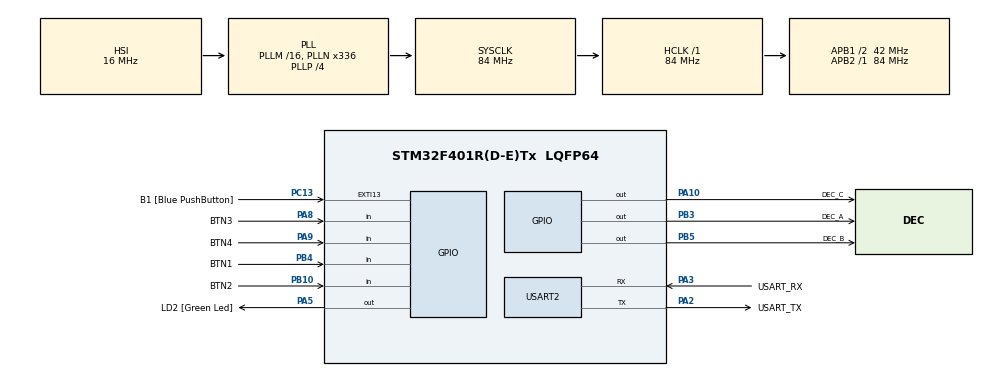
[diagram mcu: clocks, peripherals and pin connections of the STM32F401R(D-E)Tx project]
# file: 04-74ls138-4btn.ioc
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Mcu.Family=STM32F4
Mcu.Name=STM32F401R(D-E)Tx
Mcu.Package=LQFP64
NVIC.PriorityGroup=NVIC_PRIORITYGROUP_4
PA10.GPIO_Label=DEC_C
PA10.Signal=GPIO_Output
PA13.GPIO_Label=TMS
PA13.Signal=SYS_JTMS-SWDIO
PA14.GPIO_Label=TCK
PA14.Signal=SYS_JTCK-SWCLK
PA2.GPIO_Label=USART_TX
PA2.GPIO_Mode=GPIO_MODE_AF_PP
PA2.GPIO_PuPd=GPIO_NOPULL
PA2.GPIO_Speed=GPIO_SPEED_FREQ_LOW
PA2.Mode=Asynchronous
PA2.Signal=USART2_TX
PA3.GPIO_Label=USART_RX
PA3.GPIO_Mode=GPIO_MODE_AF_PP
PA3.GPIO_PuPd=GPIO_NOPULL
PA3.GPIO_Speed=GPIO_SPEED_FREQ_LOW
PA3.Mode=Asynchronous
PA3.Signal=USART2_RX
PA5.GPIO_Label=LD2 [Green Led]
PA5.GPIO_Mode=GPIO_MODE_OUTPUT_PP
PA5.GPIO_PuPd=GPIO_NOPULL
PA5.GPIO_Speed=GPIO_SPEED_FREQ_LOW
PA5.Signal=GPIO_Output
PA8.GPIO_Label=BTN3
PA8.GPIO_PuPd=GPIO_PULLUP
PA8.Signal=GPIO_Input
PA9.GPIO_Label=BTN4
PA9.GPIO_PuPd=GPIO_PULLUP
PA9.Signal=GPIO_Input
PB10.GPIO_Label=BTN2
PB10.GPIO_PuPd=GPIO_PULLUP
PB10.Signal=GPIO_Input
PB3.GPIO_Label=DEC_A
PB3.Signal=GPIO_Output
PB4.GPIO_Label=BTN1
PB4.GPIO_PuPd=GPIO_PULLUP
PB4.Signal=GPIO_Input
PB5.GPIO_Label=DEC_B
PB5.Signal=GPIO_Output
PC13-ANTI_TAMP.GPIO_Label=B1 [Blue PushButton]
PC13-ANTI_TAMP.GPIO_ModeDefaultEXTI=GPIO_MODE_IT_FALLING
PC13-ANTI_TAMP.GPIO_PuPd=GPIO_NOPULL
PC13-ANTI_TAMP.Signal=GPXTI13
PC14-OSC32_IN.Mode=LSE-External-Oscillator
PC14-OSC32_IN.Signal=RCC_OSC32_IN
PC15-OSC32_OUT.Mode=LSE-External-Oscillator
PC15-OSC32_OUT.Signal=RCC_OSC32_OUT
PH0\ -\ OSC_IN.Mode=HSE-External-Clock-Source
PH0\ -\ OSC_IN.Signal=RCC_OSC_IN
PH1\ -\ OSC_OUT.Mode=HSE-External-Clock-Source
PH1\ -\ OSC_OUT.Signal=RCC_OSC_OUT
ProjectManager.HeapSize=0x200
ProjectManager.StackSize=0x400
ProjectManager.TargetToolchain=CMake
RCC.48MHZClocksFreq_Value=48000000
RCC.AHBFreq_Value=84000000
RCC.APB1CLKDivider=RCC_HCLK_DIV2
RCC.APB1Freq_Value=42000000
RCC.APB1TimFreq_Value=84000000
RCC.APB2Freq_Value=84000000
RCC.APB2TimFreq_Value=84000000
RCC.CortexFreq_Value=84000000
RCC.HCLKFreq_Value=84000000
RCC.HSE_VALUE=8000000
RCC.HSI_VALUE=16000000
RCC.PLLN=336
RCC.PLLP=RCC_PLLP_DIV4
RCC.PLLQ=7
RCC.SYSCLKFreq_VALUE=84000000
RCC.SYSCLKSource=RCC_SYSCLKSOURCE_PLLCLK
RCC.VCOOutputFreq_Value=336000000
USART2.VirtualMode=VM_ASYNC
board=NUCLEO-F401RE

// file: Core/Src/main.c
/* USER CODE BEGIN Header */
/**
  ******************************************************************************
  * @file           : main.c
  * @brief          : Main program body
  ******************************************************************************
  * @attention
  *
  * Copyright (c) 2026 STMicroelectronics.
  * All rights reserved.
  *
  * This software is licensed under terms that can be found in the LICENSE file
  * in the root directory of this software component.
  * If no LICENSE file comes with this software, it is provided AS-IS.
  *
  ******************************************************************************
  */
/* USER CODE END Header */
#include "main.h"
#include "usart.h"
#include "gpio.h"

/* USER CODE BEGIN Includes */
#include <string.h>   /* UART 문자열 길이 계산(strlen)에 사용 */
#include <stdio.h>    /* 상태 메시지 조립(vsnprintf)에 사용 */
#include <stdarg.h>   /* UartPrintf의 가변 인자 처리에 사용 */
/* USER CODE END Includes */

/* USER CODE BEGIN PTD */
/* 버튼 1개의 디바운스 상태를 담는 구조체.
   port/pin  : 이 버튼이 연결된 GPIO (예: BTN1_GPIO_Port, BTN1_Pin)
   lastReading    : 방금 전 루프에서 읽은 raw 핀 값 (튀는 값 포함, 아직 확정 아님)
   stableState    : 디바운스를 통과해 "확정"된 값 (실제로 눌렸는지/안 눌렸는지)
   lastChangeTick : lastReading이 마지막으로 바뀐 시각(ms) - 여기서부터 시간을 재서
                    BUTTON_DEBOUNCE_MS 이상 값이 안 변하면 진짜 상태로 인정 */
typedef struct
{
  GPIO_TypeDef *port;
  uint16_t pin;
  GPIO_PinState lastReading;
  GPIO_PinState stableState;
  uint32_t lastChangeTick;
} Button_t;
/* USER CODE END PTD */

/* USER CODE BEGIN PD */
/* 여러 기능에 걸쳐 쓰이는 설정값만 여기 두고, 특정 함수 하나에서만 쓰는
   매직넘버(BTN2/3/4의 속도 등)는 해당 함수 바로 위에 둔다. */

/* 1이면 부팅 직후 LED 배선 매핑 테스트(LedMappingTest)를 자동으로 한 번 실행한다.
   버튼을 누르지 않아도 되므로 어떤 버튼 배선도 필요 없이 확인할 수 있다.
   배선 매핑 확인이 끝났으므로 0으로 꺼둠 - 다시 배선을 만지게 되면 1로 바꾸면 됨. */
#define RUN_MAPPING_TEST_AT_BOOT 0
/* USER CODE END PD */

/* USER CODE BEGIN PV */
/* 버튼 4개 각각의 상태. 초기값 GPIO_PIN_SET(HIGH)은 "안 눌림" 가정이고,
   실제 초기값은 main() 시작 시 Button_Init()이 실제 핀을 읽어서 다시 세팅한다. */
static Button_t btn1 = { BTN1_GPIO_Port, BTN1_Pin, GPIO_PIN_SET, GPIO_PIN_SET, 0 };
static Button_t btn2 = { BTN2_GPIO_Port, BTN2_Pin, GPIO_PIN_SET, GPIO_PIN_SET, 0 };
static Button_t btn3 = { BTN3_GPIO_Port, BTN3_Pin, GPIO_PIN_SET, GPIO_PIN_SET, 0 };
static Button_t btn4 = { BTN4_GPIO_Port, BTN4_Pin, GPIO_PIN_SET, GPIO_PIN_SET, 0 };
/* USER CODE END PV */

void SystemClock_Config(void);
/* USER CODE BEGIN PFP */
static void Button_Init(Button_t *btn);
static uint8_t Button_Update(Button_t *btn);
static void SetDecoderOutput(uint8_t index);
static void UartPrint(const char *msg);
static void UartPrintf(const char *fmt, ...);
static void UartPrintStep(const char *label, uint8_t step, uint8_t position);
static void PlaySequence(const char *label, const uint8_t *order, uint16_t stepMs);
#if RUN_MAPPING_TEST_AT_BOOT
static void LedMappingTest(void);
#endif

static void BTN1_Action(void);
static void BTN2_Action(void);
static void BTN3_Action(void);
static void BTN4_Action(void);
/* USER CODE END PFP */

int main(void)
{

  /* MCU Configuration--------------------------------------------------------*/

  /* Reset of all peripherals, Initializes the Flash interface and the Systick. */
  HAL_Init();

  /* Configure the system clock */
  SystemClock_Config();

  /* Initialize all configured peripherals */
  MX_GPIO_Init();
  MX_USART2_UART_Init();
  /* USER CODE BEGIN 2 */
  /* 리셋 직후 전원/풀업이 안정되기 전 핀이 잠깐 튈 수 있으므로,
     "안 눌림"으로 무작정 가정하지 않고 지금 실제 핀 값을 읽어서
     그걸 기준(baseline) 상태로 저장한다. 이렇게 하면 리셋 직후의
     순간적인 노이즈를 "버튼이 눌렸다"고 오인하지 않는다. */
  Button_Init(&btn1);
  Button_Init(&btn2);
  Button_Init(&btn3);
  Button_Init(&btn4);

  SetDecoderOutput(0);  /* 시작 시 LED 1번째(index 0)를 켠 상태로 초기화 */

  /* 부팅 배너: UART가 살아있는지 바로 확인하기 위한 신호.
     리셋하자마자 이 줄이 시리얼 모니터에 뜨면 UART/포트/보드레이트는 정상이라는 뜻.
     이어서 각 버튼이 어떤 동작인지 안내해두면 모니터만 보고도 구분할 수 있다. */
  UartPrint("\r\n=== 04-74ls138-4btn ready (115200 8N1) ===\r\n");
  UartPrint("  BTN1: 1초 간격 순차 점등 (1->8)\r\n");
  UartPrint("  BTN2: 편도 3회 반복, 갈수록 가속\r\n");
  UartPrint("  BTN3: 1,3,5,7,2,4,6,8 순서 재생\r\n");
  UartPrint("  BTN4: 1,8,2,7,3,6,4,5 순서 재생\r\n");
  UartPrint("버튼을 누르면 진행 상황이 여기에 출력됩니다.\r\n");

#if RUN_MAPPING_TEST_AT_BOOT
  /* 배선 매핑 확인이 끝나면 RUN_MAPPING_TEST_AT_BOOT를 0으로 바꿔서 끄면 된다. */
  LedMappingTest();
#endif
  /* USER CODE END 2 */

  /* Infinite loop */
  while (1)
  {

    /* USER CODE BEGIN 3 */
    /* 매 루프마다 버튼 4개를 각각 폴링(polling)한다.
       Button_Update()가 1을 반환하는 순간(=눌리는 그 찰나)에만
       해당 버튼의 액션 함수를 딱 한 번 호출한다. */
    if (Button_Update(&btn1)) { BTN1_Action(); }
    if (Button_Update(&btn2)) { BTN2_Action(); }
    if (Button_Update(&btn3)) { BTN3_Action(); }
    if (Button_Update(&btn4)) { BTN4_Action(); }
  }
  /* USER CODE END 3 */
}

void SystemClock_Config(void)
{
  RCC_OscInitTypeDef RCC_OscInitStruct = {0};
  RCC_ClkInitTypeDef RCC_ClkInitStruct = {0};

  /** Configure the main internal regulator output voltage
  */
  __HAL_RCC_PWR_CLK_ENABLE();
  __HAL_PWR_VOLTAGESCALING_CONFIG(PWR_REGULATOR_VOLTAGE_SCALE2);

  /** Initializes the RCC Oscillators according to the specified parameters
  * in the RCC_OscInitTypeDef structure.
  */
  RCC_OscInitStruct.OscillatorType = RCC_OSCILLATORTYPE_HSI;
  RCC_OscInitStruct.HSIState = RCC_HSI_ON;
  RCC_OscInitStruct.HSICalibrationValue = RCC_HSICALIBRATION_DEFAULT;
  RCC_OscInitStruct.PLL.PLLState = RCC_PLL_ON;
  RCC_OscInitStruct.PLL.PLLSource = RCC_PLLSOURCE_HSI;
  RCC_OscInitStruct.PLL.PLLM = 16;
  RCC_OscInitStruct.PLL.PLLN = 336;
  RCC_OscInitStruct.PLL.PLLP = RCC_PLLP_DIV4;
  RCC_OscInitStruct.PLL.PLLQ = 7;
  if (HAL_RCC_OscConfig(&RCC_OscInitStruct) != HAL_OK)
  {
    Error_Handler();
  }

  /** Initializes the CPU, AHB and APB buses clocks
  */
  RCC_ClkInitStruct.ClockType = RCC_CLOCKTYPE_HCLK|RCC_CLOCKTYPE_SYSCLK
                              |RCC_CLOCKTYPE_PCLK1|RCC_CLOCKTYPE_PCLK2;
  RCC_ClkInitStruct.SYSCLKSource = RCC_SYSCLKSOURCE_PLLCLK;
  RCC_ClkInitStruct.AHBCLKDivider = RCC_SYSCLK_DIV1;
  RCC_ClkInitStruct.APB1CLKDivider = RCC_HCLK_DIV2;
  RCC_ClkInitStruct.APB2CLKDivider = RCC_HCLK_DIV1;

  if (HAL_RCC_ClockConfig(&RCC_ClkInitStruct, FLASH_LATENCY_2) != HAL_OK)
  {
    Error_Handler();
  }
}

/* USER CODE BEGIN 4 */
/**
  * @brief  버튼의 디바운스 상태를 "현재 실제 핀 값"으로 초기화한다.
  *         전원 인가/리셋 직후의 과도(transient) 상태를 눌림으로 오인하지 않기 위함.
  */
static void Button_Init(Button_t *btn)
{
  GPIO_PinState reading = HAL_GPIO_ReadPin(btn->port, btn->pin);
  btn->lastReading = reading;      /* 지금 읽은 값을 그대로 "직전 값"으로 */
  btn->stableState = reading;      /* 지금 읽은 값을 그대로 "확정 값"으로 → 이벤트 발생 안 함 */
  btn->lastChangeTick = HAL_GetTick();
}

/**
  * @brief  버튼 핀 하나를 디바운스하며 폴링한다.
  * @retval 버튼이 눌리는(HIGH→LOW) 그 순간에만 1, 그 외에는 0.
  *
  * 동작 원리(소프트웨어 디바운스):
  *  1) 매 호출마다 현재 핀 값을 읽는다.
  *  2) 직전에 읽은 값(lastReading)과 다르면 "지금부터 다시 시간을 잰다"
  *     (lastChangeTick 갱신) - 버튼 접점이 튀는(chattering) 짧은 순간들을
  *     여기서 계속 리셋시켜 걸러낸다.
  *  3) 값이 BUTTON_DEBOUNCE_MS(20ms) 이상 안 변하고 유지되면 그제서야
  *     "진짜로 상태가 바뀌었다"고 확정(stableState 갱신)한다.
  *  4) 확정된 상태가 GPIO_PIN_RESET(LOW, 눌림)으로 바뀌는 그 순간에만
  *     pressedEvent를 1로 만든다. 즉 누르고 있는 동안 계속 1이 나오는 게
  *     아니라, 눌리는 찰나에 딱 한 번만 1이 나온다.
  */
#define BUTTON_DEBOUNCE_MS 20  /* 버튼 접점이 튀는(chattering) 시간을 걸러내기 위한 안정화 대기 시간 */

static uint8_t Button_Update(Button_t *btn)
{
  GPIO_PinState reading = HAL_GPIO_ReadPin(btn->port, btn->pin);
  uint8_t pressedEvent = 0;

  if (reading != btn->lastReading)
  {
    btn->lastChangeTick = HAL_GetTick();
  }

  if ((HAL_GetTick() - btn->lastChangeTick) >= BUTTON_DEBOUNCE_MS)
  {
    if (reading != btn->stableState)
    {
      btn->stableState = reading;
      if (btn->stableState == GPIO_PIN_RESET)
      {
        pressedEvent = 1;
      }
    }
  }

  btn->lastReading = reading;
  return pressedEvent;
}

/**
  * @brief  74LS138의 A/B/C 선택 입력(PB3/PB5/PA10)에 index(0~7)를 3비트로
  *         실어서, 8개 출력(Y0~Y7) 중 하나만 활성화되게 한다.
  *
  * index를 2진수로 봤을 때:
  *   bit0(0x01) → DEC_A (74LS138의 A, 1번 핀)
  *   bit1(0x02) → DEC_B (74LS138의 B, 2번 핀)
  *   bit2(0x04) → DEC_C (74LS138의 C, 3번 핀)
  * 예) index=3(0b011) → A=1, B=1, C=0 → Y3만 LOW(활성)가 되어 LED3 켜짐.
  * G1(인에이블)은 항상 VCC에 물려있으므로 이 함수만으로 항상 하나의 LED가 켜진다
  * (G1/G2A/G2B 중 어느 것도 MCU 핀이 아니라서, 소프트웨어로 "전부 소등"은 불가능하다).
  */
static void SetDecoderOutput(uint8_t index)
{
  HAL_GPIO_WritePin(DEC_A_GPIO_Port, DEC_A_Pin, (index & 0x01U) ? GPIO_PIN_SET : GPIO_PIN_RESET);
  HAL_GPIO_WritePin(DEC_B_GPIO_Port, DEC_B_Pin, (index & 0x02U) ? GPIO_PIN_SET : GPIO_PIN_RESET);
  HAL_GPIO_WritePin(DEC_C_GPIO_Port, DEC_C_Pin, (index & 0x04U) ? GPIO_PIN_SET : GPIO_PIN_RESET);
}

/**
  * @brief  널 종료 문자열을 USART2(ST-Link 가상 COM 포트)로 그대로 내보낸다.
  *         포맷 없이 고정된 문자열을 보낼 때 쓴다.
  */
static void UartPrint(const char *msg)
{
  HAL_UART_Transmit(&huart2, (const uint8_t *)msg, strlen(msg), HAL_MAX_DELAY);
}

/**
  * @brief  printf 형식 문자열을 조립해서 USART2로 내보낸다.
  *         숫자 등을 끼워 넣어야 하는 모든 UART 출력은 이 함수 하나로 통일한다.
  */
static void UartPrintf(const char *fmt, ...)
{
  char buf[64];
  va_list args;

  va_start(args, fmt);
  int len = vsnprintf(buf, sizeof(buf), fmt, args);
  va_end(args);

  if (len > 0)
  {
    HAL_UART_Transmit(&huart2, (const uint8_t *)buf, (uint16_t)len, HAL_MAX_DELAY);
  }
}

/**
  * @brief  현재 진행 상황 한 줄을 시리얼 모니터로 내보낸다.
  * @param  label    어떤 버튼 동작인지 (예: "BTN1")
  * @param  step     이번 동작 안에서 몇 번째 스텝인지 (1부터)
  * @param  position 지금 켜진 LED의 물리적 위치 (1번째~8번째)
  *
  * 배선이 정상이라 index(0~7)와 물리 위치가 1:1이므로 position은 index+1을 넘기면 된다.
  */
static void UartPrintStep(const char *label, uint8_t step, uint8_t position)
{
  UartPrintf("  [%s] step %u/8 -> LED %u번째\r\n", label, (unsigned)step, (unsigned)position);
}

/**
  * @brief  정해진 인덱스 순서(order, 8칸)를 하나씩 LED로 내보내며 진행 상황을
  *         UART로 알린다. BTN1/BTN3/BTN4가 전부 이 함수 하나를 공유하고,
  *         서로 다른 건 순서 배열과 스텝 간격(stepMs)뿐이다.
  */
static void PlaySequence(const char *label, const uint8_t *order, uint16_t stepMs)
{
  for (uint8_t i = 0; i < 8; i++)
  {
    SetDecoderOutput(order[i]);
    UartPrintStep(label, i + 1, order[i] + 1);
    HAL_Delay(stepMs);
  }
}

#if RUN_MAPPING_TEST_AT_BOOT
/* LED 배선 매핑 확인용 테스트 (RUN_MAPPING_TEST_AT_BOOT가 1일 때 부팅 시 실행).
   index를 0부터 7까지 하나씩, 각각 LED_MAPPING_TEST_DWELL_MS(3초)씩 길게 켜두고
   동시에 UART로 현재 index와 그에 대응하는 74LS138 출력/물리 핀 번호를 찍어준다.

   사용법: 시리얼 모니터를 열고 리셋한 뒤, 메시지가 바뀔 때마다 실제로 어떤
   위치의 LED가 켜지는지 순서대로 적어두면 된다.
   - 화면 순서대로 LED가 한 칸씩 이동하면 → 배선 정상, 코드도 정상
   - 화면은 0,1,2...로 잘 올라가는데 LED가 여기저기 튀면 → 배선 순서 문제
   - 화면은 잘 나오는데 LED가 아예 안 켜지는 index가 있으면 → 그 출력 핀 배선/LED 불량 */
#define LED_MAPPING_TEST_DWELL_MS 3000

/* index -> 74LS138 출력(Y)과 실제 칩 핀 번호. Y0~Y6은 15번에서 9번으로 내림차순이고
   Y7만 7번 핀이라 물리적 순서가 index 순서와 다르다는 점에 주의. */
static const char *const decoderPinLabel[8] = {
  "index=0 -> Y0 (74LS138 pin 15)\r\n",
  "index=1 -> Y1 (74LS138 pin 14)\r\n",
  "index=2 -> Y2 (74LS138 pin 13)\r\n",
  "index=3 -> Y3 (74LS138 pin 12)\r\n",
  "index=4 -> Y4 (74LS138 pin 11)\r\n",
  "index=5 -> Y5 (74LS138 pin 10)\r\n",
  "index=6 -> Y6 (74LS138 pin 9)\r\n",
  "index=7 -> Y7 (74LS138 pin 7)\r\n",
};

static void LedMappingTest(void)
{
  UartPrint("\r\n--- LED mapping test (3s each) ---\r\n");

  for (uint8_t i = 0; i < 8; i++)
  {
    SetDecoderOutput(i);
    UartPrint(decoderPinLabel[i]);
    HAL_Delay(LED_MAPPING_TEST_DWELL_MS);
  }
}
#endif /* RUN_MAPPING_TEST_AT_BOOT */

/* BTN1을 누르면 LED 1번째부터 8번째까지 1초 간격으로 순서대로 하나씩 켠다.
   74LS138은 한 번에 출력 하나만 활성화되므로, 다음 LED가 켜지면 이전 LED는
   자동으로 꺼진다. PlaySequence가 끝날 때까지(총 8초) 메인 루프가 멈춰 있어
   다른 버튼 입력은 그 사이에 받아들여지지 않는다. */
#define BTN1_STEP_MS 1000
static const uint8_t btn1PlaybackOrder[8] = { 0, 1, 2, 3, 4, 5, 6, 7 };  /* 1->8 그대로 */

static void BTN1_Action(void)
{
  UartPrint("\r\n[BTN1] 시작: 1초 간격 순차 점등 (1->8)\r\n");
  PlaySequence("BTN1", btn1PlaybackOrder, BTN1_STEP_MS);
  UartPrint("[BTN1] 종료\r\n");
}

/* BTN2를 누르면 LED 1번째->8번째를 한 방향(편도)으로 켜는 동작을 3번 반복한다.
   매 스텝마다 대기 시간을 조금씩 줄여서(BTN2_DELAY_STEP_MS씩 감소,
   BTN2_MIN_DELAY_MS 밑으로는 안 내려감) 반복할수록 빨라지며, 속도는 3번 반복
   내내 리셋되지 않고 계속 가속된다. 매 스텝마다 딜레이가 달라져서
   PlaySequence(고정 간격 전용)를 그대로 못 쓰고 직접 반복문을 돈다. */
#define BTN2_INITIAL_DELAY_MS 1000
#define BTN2_DELAY_STEP_MS    40
#define BTN2_MIN_DELAY_MS     50
#define BTN2_REPEAT_COUNT     3

static void BTN2_Action(void)
{
  uint16_t delay = BTN2_INITIAL_DELAY_MS;

  UartPrint("\r\n[BTN2] 시작: 편도 3회 반복, 갈수록 가속\r\n");

  for (uint8_t rep = 0; rep < BTN2_REPEAT_COUNT; rep++)
  {
    UartPrintf(" -- %u회차 --\r\n", (unsigned)(rep + 1));

    for (uint8_t i = 0; i < 8; i++)
    {
      SetDecoderOutput(i);
      UartPrintStep("BTN2", i + 1, i + 1);
      HAL_Delay(delay);
      /* 하한(BTN2_MIN_DELAY_MS)까지만 줄이고 그 아래로는 내려가지 않는다.
         한 스텝 더 빼면 하한 밑으로 떨어지는 경우엔 하한 값으로 고정. */
      if (delay >= BTN2_MIN_DELAY_MS + BTN2_DELAY_STEP_MS) { delay -= BTN2_DELAY_STEP_MS; }
      else { delay = BTN2_MIN_DELAY_MS; }
    }
  }

  UartPrint("[BTN2] 종료\r\n");
}

/* BTN3을 누르면 예전에 A/B/C 배선이 한 칸씩 밀려 꽂혀 있을 때 실제로
   관찰됐던 점등 순서 "1,3,5,7,2,4,6,8"(물리적 LED 위치, 1번째부터 셈)을
   그대로 재현한다. 지금은 배선이 정상이라 이 물리적 순서를 그대로 내려면
   Y-index(0~7)를 그 순서에 맞게 미리 나열해서 넘겨주면 된다:
   물리 위치 1,3,5,7,2,4,6,8 -> index 0,2,4,6,1,3,5,7. */
#define BTN3_STEP_MS 300
static const uint8_t btn3PlaybackOrder[8] = { 0, 2, 4, 6, 1, 3, 5, 7 };

static void BTN3_Action(void)
{
  UartPrint("\r\n[BTN3] 시작: 1,3,5,7,2,4,6,8 순서 재생\r\n");
  PlaySequence("BTN3", btn3PlaybackOrder, BTN3_STEP_MS);
  UartPrint("[BTN3] 종료\r\n");
}

/* BTN4를 한 번 누르면 1,8,2,7,3,6,4,5 순서(물리적 LED 위치, 1번째부터 셈)로
   자동으로 한 번 훑고 끝난다 - BTN1처럼 누르는 즉시 끝까지 자동 재생되는
   애니메이션. 물리 위치 1,8,2,7,3,6,4,5 -> index 0,7,1,6,2,5,3,4.
   완전한 소등은 하드웨어 구조상 불가능하므로(SetDecoderOutput 주석 참고),
   마지막 위치(5번째)에 불이 켜진 채로 멈추고, 다음에 BTN4를 다시 누르면
   처음(1번째)부터 다시 훑는다. */
#define BTN4_STEP_MS 300
static const uint8_t btn4PlaybackOrder[8] = { 0, 7, 1, 6, 2, 5, 3, 4 };

static void BTN4_Action(void)
{
  UartPrint("\r\n[BTN4] 시작: 1,8,2,7,3,6,4,5 순서 재생\r\n");
  PlaySequence("BTN4", btn4PlaybackOrder, BTN4_STEP_MS);
  UartPrint("[BTN4] 종료\r\n");
}
/* USER CODE END 4 */

void Error_Handler(void)
{
  __disable_irq();
  while (1)
  {
  }
}
